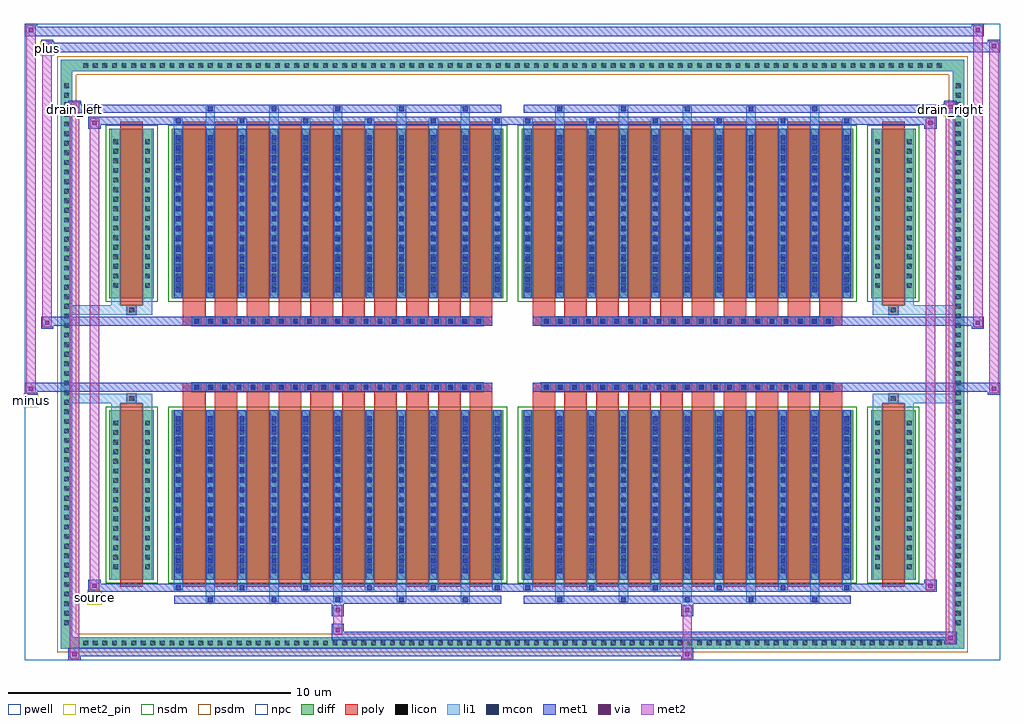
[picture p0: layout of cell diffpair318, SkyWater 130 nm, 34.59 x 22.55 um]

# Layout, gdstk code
import gdstk
lib = gdstk.Library(unit=1e-6, precision=5e-09)
def R(c, l, rs):  # rectangles x0, y0, x1, y1
    for r in rs: c.add(gdstk.rectangle(r[:2], r[2:], *l))
def A(c, l, x, y, w, h, nx, ny, dx, dy):  # array of equal rectangles
    R(c, l, [(x+i*dx, y+j*dy, x+i*dx+w, y+j*dy+h) for i in range(nx) for j in range(ny)])
def P(c, l, *ps):  # polygons
    for p in ps: c.add(gdstk.Polygon(p, *l))
pwell = (64, 44)
diff = (65, 20)
poly = (66, 20)
licon = (66, 44)
li1 = (67, 20)
mcon = (67, 44)
met1 = (68, 20)
via = (68, 44)
met2_pin = (69, 16)
met2 = (69, 20)
nsdm = (93, 44)
psdm = (94, 20)
npc = (95, 20)

diffpair318 = lib.new_cell('diffpair318')
R(diffpair318, pwell, [(-17.28,-10.84,17.28,11.71), (-14.6,-9.03,-0.01,-0.805), (0.01,-9.03,14.6,-0.805), (-14.6,0.805,-0.01,9.03), (0.01,0.805,14.6,9.03)])
A(diffpair318, diff, -15.335, -10.44, 0.41, 0.41, 90, 2, 0.34, 20.47)
A(diffpair318, diff, -16.01, -9.725, 0.41, 0.41, 1, 57, 0, 0.34)
A(diffpair318, diff, 15.6, -9.725, 0.41, 0.41, 1, 57, 0, 0.34)
R(diffpair318, diff, [(-15.335,-10.44,15.335,-10.03), (-16.01,-9.725,-15.6,9.725), (15.6,-9.725,16.01,9.725), (-14.29,-7.985,-12.71,-1.985), (-12.07,-7.985,-0.32,-1.985), (0.32,-7.985,12.07,-1.985), (12.71,-7.985,14.29,-1.985), (-14.29,1.985,-12.71,7.985), (-12.07,1.985,-0.32,7.985), (0.32,1.985,12.07,7.985), (12.71,1.985,14.29,7.985), (-15.335,10.03,15.335,10.44)])
P(diffpair318, diff, [(16.01,10.44),(-16.01,10.44),(-16.01,-10.03),(-15.6,-10.03),(-15.6,10.03),(15.6,10.03),(15.6,-10.03),(-15.6,-10.03),(-16.01,-10.03),(-16.01,-10.44),(16.01,-10.44)])
A(diffpair318, poly, -11.68, -8.235, 0.8, 6.5, 10, 2, 1.13, 9.97)
A(diffpair318, poly, 0.71, -8.235, 0.8, 6.5, 10, 2, 1.13, 9.97)
A(diffpair318, poly, -11.68, -1.735, 0.8, 0.4, 10, 2, 1.13, 3.07)
A(diffpair318, poly, 0.71, -1.735, 0.8, 0.4, 10, 2, 1.13, 3.07)
A(diffpair318, poly, -11.36, -1.335, 0.33, 0.33, 21, 2, 0.5, 2.34)
A(diffpair318, poly, 1.03, -1.335, 0.33, 0.33, 21, 2, 0.5, 2.34)
R(diffpair318, poly, [(-13.9,-8.235,-13.1,-1.735), (13.1,-8.235,13.9,-1.735), (-13.665,-1.735,-13.335,-1.405), (-13.665,-1.735,-13.335,-1.405), (13.335,-1.735,13.665,-1.405), (13.335,-1.735,13.665,-1.405), (-11.68,-1.335,-0.71,-1.005), (0.71,-1.335,11.68,-1.005), (-11.68,1.005,-0.71,1.335), (0.71,1.005,11.68,1.335), (-13.665,1.405,-13.335,1.735), (-13.665,1.405,-13.335,1.735), (13.335,1.405,13.665,1.735), (13.335,1.405,13.665,1.735), (-13.9,1.735,-13.1,8.235), (13.1,1.735,13.9,8.235)])
A(diffpair318, licon, -15.215, -10.32, 0.17, 0.17, 90, 2, 0.34, 20.47)
A(diffpair318, licon, -15.89, -9.605, 0.17, 0.17, 1, 57, 0, 0.34)
A(diffpair318, licon, 15.72, -9.605, 0.17, 0.17, 1, 57, 0, 0.34)
A(diffpair318, licon, -14.15, -7.62, 0.17, 0.17, 1, 16, 0, 0.34)
A(diffpair318, licon, -13.02, -7.62, 0.17, 0.17, 1, 16, 0, 0.34)
A(diffpair318, licon, -11.93, -7.62, 0.17, 0.17, 11, 16, 1.13, 0.34)
A(diffpair318, licon, 0.46, -7.62, 0.17, 0.17, 11, 16, 1.13, 0.34)
A(diffpair318, licon, 12.85, -7.62, 0.17, 0.17, 1, 16, 0, 0.34)
A(diffpair318, licon, 13.98, -7.62, 0.17, 0.17, 1, 16, 0, 0.34)
A(diffpair318, licon, -11.28, -1.255, 0.17, 0.17, 21, 2, 0.5, 2.34)
A(diffpair318, licon, 1.11, -1.255, 0.17, 0.17, 21, 2, 0.5, 2.34)
A(diffpair318, licon, -14.15, 2.35, 0.17, 0.17, 1, 16, 0, 0.34)
A(diffpair318, licon, -13.02, 2.35, 0.17, 0.17, 1, 16, 0, 0.34)
A(diffpair318, licon, -11.93, 2.35, 0.17, 0.17, 11, 16, 1.13, 0.34)
A(diffpair318, licon, 0.46, 2.35, 0.17, 0.17, 11, 16, 1.13, 0.34)
A(diffpair318, licon, 12.85, 2.35, 0.17, 0.17, 1, 16, 0, 0.34)
A(diffpair318, licon, 13.98, 2.35, 0.17, 0.17, 1, 16, 0, 0.34)
R(diffpair318, licon, [(-13.585,-1.655,-13.415,-1.485), (13.415,-1.655,13.585,-1.485), (-13.585,1.485,-13.415,1.655), (13.415,1.485,13.585,1.655)])
A(diffpair318, li1, -15.295, -10.4, 0.33, 0.33, 90, 2, 0.34, 20.47)
A(diffpair318, li1, -15.97, -9.685, 0.33, 0.33, 1, 57, 0, 0.34)
A(diffpair318, li1, 15.64, -9.685, 0.33, 0.33, 1, 57, 0, 0.34)
A(diffpair318, li1, -10.88, -8.79, 0.33, 0.805, 5, 2, 2.26, 16.775)
A(diffpair318, li1, -10.8, -8.79, 0.17, 0.17, 5, 2, 2.26, 17.41)
A(diffpair318, li1, 1.51, -8.79, 0.33, 0.805, 5, 2, 2.26, 16.775)
A(diffpair318, li1, 1.59, -8.79, 0.17, 0.17, 5, 2, 2.26, 17.41)
A(diffpair318, li1, -12.01, -8.36, 0.33, 0.375, 6, 2, 2.26, 16.345)
A(diffpair318, li1, -11.93, -8.36, 0.17, 0.17, 6, 2, 2.26, 16.55)
A(diffpair318, li1, 0.38, -8.36, 0.33, 0.375, 6, 2, 2.26, 16.345)
A(diffpair318, li1, 0.46, -8.36, 0.17, 0.17, 6, 2, 2.26, 16.55)
A(diffpair318, li1, -12.01, -7.985, 0.33, 6, 11, 2, 1.13, 9.97)
A(diffpair318, li1, 0.38, -7.985, 0.33, 6, 11, 2, 1.13, 9.97)
A(diffpair318, li1, -11.93, -7.77, 0.17, 0.17, 11, 16, 1.13, 0.36)
A(diffpair318, li1, -11.93, -7.77, 0.17, 5.57, 11, 2, 1.13, 9.97)
A(diffpair318, li1, 0.46, -7.77, 0.17, 0.17, 11, 16, 1.13, 0.36)
A(diffpair318, li1, 0.46, -7.77, 0.17, 5.57, 11, 2, 1.13, 9.97)
A(diffpair318, li1, -14.23, -7.7, 0.33, 0.33, 1, 16, 0, 0.34)
A(diffpair318, li1, -13.1, -7.7, 0.33, 0.33, 1, 16, 0, 0.34)
A(diffpair318, li1, -12.01, -7.7, 0.33, 0.33, 11, 16, 1.13, 0.34)
A(diffpair318, li1, 0.38, -7.7, 0.33, 0.33, 11, 16, 1.13, 0.34)
A(diffpair318, li1, 12.77, -7.7, 0.33, 0.33, 1, 16, 0, 0.34)
A(diffpair318, li1, 13.9, -7.7, 0.33, 0.33, 1, 16, 0, 0.34)
A(diffpair318, li1, -11.36, -1.335, 0.33, 0.33, 21, 2, 0.5, 2.34)
A(diffpair318, li1, 1.03, -1.335, 0.33, 0.33, 21, 2, 0.5, 2.34)
A(diffpair318, li1, -11.93, 2.2, 0.17, 0.17, 11, 16, 1.13, 0.36)
A(diffpair318, li1, 0.46, 2.2, 0.17, 0.17, 11, 16, 1.13, 0.36)
A(diffpair318, li1, -14.23, 2.27, 0.33, 0.33, 1, 16, 0, 0.34)
A(diffpair318, li1, -13.1, 2.27, 0.33, 0.33, 1, 16, 0, 0.34)
A(diffpair318, li1, -12.01, 2.27, 0.33, 0.33, 11, 16, 1.13, 0.34)
A(diffpair318, li1, 0.38, 2.27, 0.33, 0.33, 11, 16, 1.13, 0.34)
A(diffpair318, li1, 12.77, 2.27, 0.33, 0.33, 1, 16, 0, 0.34)
A(diffpair318, li1, 13.9, 2.27, 0.33, 0.33, 1, 16, 0, 0.34)
R(diffpair318, li1, [(-16.01,-10.44,-15.6,-10.03), (-16.01,-10.44,-15.6,-10.03), (-15.6,-10.44,15.6,-10.03), (15.6,-10.44,16.01,-10.03), (15.6,-10.44,16.01,-10.03), (-16.01,-10.03,-15.6,10.03), (15.6,-10.03,16.01,10.03), (-14.23,-7.985,-13.9,-1.985), (-13.1,-7.985,-12.77,-1.985), (12.77,-7.985,13.1,-1.985), (13.9,-7.985,14.23,-1.985), (-14.23,-1.985,-13.9,-1.405), (-13.1,-1.985,-12.77,-1.405), (12.77,-1.985,13.1,-1.405), (13.9,-1.985,14.23,-1.405), (-16.01,-1.735,-13.665,-1.405), (-14.23,-1.735,-13.665,-1.405), (-13.665,-1.735,-13.335,-1.405), (-13.335,-1.735,-12.77,-1.405), (12.77,-1.735,13.335,-1.405), (13.335,-1.735,13.665,-1.405), (13.335,-1.735,16.01,-1.405), (13.665,-1.735,14.23,-1.405), (-16.01,1.405,-13.665,1.735), (-14.23,1.405,-13.665,1.735), (-14.23,1.405,-13.9,1.985), (-13.665,1.405,-13.335,1.735), (-13.335,1.405,-12.77,1.735), (-13.1,1.405,-12.77,1.985), (12.77,1.405,13.335,1.735), (12.77,1.405,13.1,1.985), (13.335,1.405,13.665,1.735), (13.335,1.405,16.01,1.735), (13.665,1.405,14.23,1.735), (13.9,1.405,14.23,1.985), (-14.23,1.985,-13.9,7.985), (-13.1,1.985,-12.77,7.985), (12.77,1.985,13.1,7.985), (13.9,1.985,14.23,7.985), (-16.01,10.03,-15.6,10.44), (-16.01,10.03,-15.6,10.44), (-15.6,10.03,15.6,10.44), (15.6,10.03,16.01,10.44), (15.6,10.03,16.01,10.44)])
A(diffpair318, mcon, -10.8, -8.79, 0.17, 0.17, 5, 2, 2.26, 17.41)
A(diffpair318, mcon, 1.59, -8.79, 0.17, 0.17, 5, 2, 2.26, 17.41)
A(diffpair318, mcon, -11.93, -8.36, 0.17, 0.17, 6, 2, 2.26, 16.55)
A(diffpair318, mcon, 0.46, -8.36, 0.17, 0.17, 6, 2, 2.26, 16.55)
A(diffpair318, mcon, -11.93, -7.77, 0.17, 0.17, 11, 16, 1.13, 0.36)
A(diffpair318, mcon, 0.46, -7.77, 0.17, 0.17, 11, 16, 1.13, 0.36)
A(diffpair318, mcon, -11.28, -1.255, 0.17, 0.17, 21, 2, 0.5, 2.34)
A(diffpair318, mcon, 1.11, -1.255, 0.17, 0.17, 21, 2, 0.5, 2.34)
A(diffpair318, mcon, -11.93, 2.2, 0.17, 0.17, 11, 16, 1.13, 0.36)
A(diffpair318, mcon, 0.46, 2.2, 0.17, 0.17, 11, 16, 1.13, 0.36)
A(diffpair318, met1, -10.86, -8.85, 0.29, 0.29, 5, 2, 2.26, 17.41)
A(diffpair318, met1, 1.53, -8.85, 0.29, 0.29, 5, 2, 2.26, 17.41)
A(diffpair318, met1, -11.99, -8.42, 0.29, 0.29, 6, 2, 2.26, 16.55)
A(diffpair318, met1, 0.4, -8.42, 0.29, 0.29, 6, 2, 2.26, 16.55)
A(diffpair318, met1, -11.99, -7.985, 0.29, 6, 11, 2, 1.13, 9.97)
A(diffpair318, met1, 0.4, -7.985, 0.29, 6, 11, 2, 1.13, 9.97)
A(diffpair318, met1, -11.99, -7.83, 0.29, 0.29, 11, 16, 1.13, 0.36)
A(diffpair318, met1, 0.4, -7.83, 0.29, 0.29, 11, 16, 1.13, 0.36)
A(diffpair318, met1, -11.34, -1.315, 0.29, 0.29, 21, 2, 0.5, 2.34)
A(diffpair318, met1, 1.05, -1.315, 0.29, 0.29, 21, 2, 0.5, 2.34)
A(diffpair318, met1, -11.99, 2.14, 0.29, 0.29, 11, 16, 1.13, 0.36)
A(diffpair318, met1, 0.4, 2.14, 0.29, 0.29, 11, 16, 1.13, 0.36)
R(diffpair318, met1, [(-15.74,-10.84,-15.31,-10.41), (5.98,-10.84,6.41,-10.41), (-15.74,-10.7,6.41,-10.41), (15.31,-10.27,15.74,-9.84), (-6.41,-10.13,15.74,-9.84), (-6.41,-9.99,-5.98,-9.56), (-6.41,-9.28,-5.98,-8.85), (5.98,-9.28,6.41,-8.85), (-11.99,-8.85,-0.4,-8.56), (0.4,-8.85,11.99,-8.56), (-15.03,-8.42,-14.6,-7.99), (-15.03,-8.42,-11.99,-8.13), (-11.99,-8.42,-0.4,-8.13), (-0.4,-8.42,0.4,-8.13), (0.4,-8.42,11.99,-8.13), (11.99,-8.42,15.03,-8.13), (14.6,-8.42,15.03,-7.99), (-17.28,-1.435,-16.85,-1.005), (16.85,-1.435,17.28,-1.005), (-17.28,-1.335,-0.71,-1.005), (-11.68,-1.335,-0.71,-1.005), (0.71,-1.335,11.68,-1.005), (0.71,-1.335,17.28,-1.005), (-16.71,0.905,-16.28,1.335), (16.28,0.905,16.71,1.335), (-16.71,1.005,-11.68,1.335), (-11.68,1.005,-0.71,1.335), (0.71,1.005,11.68,1.335), (11.68,1.005,16.71,1.335), (-15.03,7.99,-14.6,8.42), (14.6,7.99,15.03,8.42), (-15.03,8.13,-11.99,8.42), (-11.99,8.13,-0.4,8.42), (-0.4,8.13,0.4,8.42), (0.4,8.13,11.99,8.42), (11.99,8.13,15.03,8.42), (-15.74,8.56,-15.31,8.99), (-15.74,8.56,-11.99,8.85), (-11.99,8.56,-0.4,8.85), (0.4,8.56,11.99,8.85), (11.99,8.56,15.74,8.85), (15.31,8.56,15.74,8.99), (-16.71,10.71,-16.28,11.14), (-16.71,10.71,-14.6,11.04), (-14.6,10.71,14.6,11.04), (14.6,10.71,17.28,11.04), (16.85,10.71,17.28,11.14), (-17.28,11.28,-16.85,11.71), (-17.28,11.28,-14.6,11.61), (-14.6,11.28,14.6,11.61), (14.6,11.28,16.71,11.61), (16.28,11.28,16.71,11.71)])
R(diffpair318, via, [(-15.6,-10.7,-15.45,-10.55), (6.12,-10.7,6.27,-10.55), (15.45,-10.13,15.6,-9.98), (-6.27,-9.85,-6.12,-9.7), (-6.27,-9.14,-6.12,-8.99), (6.12,-9.14,6.27,-8.99), (-14.89,-8.28,-14.74,-8.13), (14.74,-8.28,14.89,-8.13), (-17.14,-1.295,-16.99,-1.145), (16.99,-1.295,17.14,-1.145), (-16.57,1.045,-16.42,1.195), (16.42,1.045,16.57,1.195), (-14.89,8.13,-14.74,8.28), (14.74,8.13,14.89,8.28), (-15.6,8.7,-15.45,8.85), (15.45,8.7,15.6,8.85), (-16.57,10.85,-16.42,11), (16.99,10.85,17.14,11), (-17.14,11.42,-16.99,11.57), (16.42,11.42,16.57,11.57)])
R(diffpair318, met2_pin, [(-15.065,-8.87,-14.565,-8.37), (-17.315,-1.885,-16.815,-1.385), (-15.775,8.44,-15.275,8.94), (15.275,8.44,15.775,8.94), (-16.745,10.59,-16.245,11.09)])
R(diffpair318, met2, [(-15.69,-10.79,-15.36,-10.46), (-15.69,-10.79,-15.36,8.94), (6.03,-10.79,6.36,-10.46), (6.03,-10.46,6.36,-9.23), (15.36,-10.22,15.69,-9.89), (15.36,-10.22,15.69,8.94), (-6.36,-9.94,-6.03,-9.61), (-6.36,-9.61,-6.03,-9.23), (-6.36,-9.23,-6.03,-8.9), (6.03,-9.23,6.36,-8.9), (-14.98,-8.37,-14.65,-8.04), (-14.98,-8.37,-14.65,8.37), (14.65,-8.37,14.98,-8.04), (14.65,-8.37,14.98,8.37), (-17.23,-1.385,-16.9,-1.055), (-17.23,-1.385,-16.9,11.66), (16.9,-1.385,17.23,-1.055), (16.9,-1.385,17.23,11.09), (-16.66,0.955,-16.33,1.285), (-16.66,0.955,-16.33,11.09), (16.33,0.955,16.66,1.285), (16.33,0.955,16.66,11.66), (-14.98,8.04,-14.65,8.37), (14.65,8.04,14.98,8.37), (-15.69,8.61,-15.36,8.94), (15.36,8.61,15.69,8.94), (-16.66,10.76,-16.33,11.09), (16.9,10.76,17.23,11.09), (-17.23,11.33,-16.9,11.66), (16.33,11.33,16.66,11.66)])
P(diffpair318, met2, [(17.23,-1.385),(17.23,-1.385),(17.23,-1.055),(17.23,-1.055)],
  [(17.23,10.76),(17.23,10.76),(17.23,11.09),(17.23,11.09)],
  [(-16.9,-1.385),(-16.9,-1.385),(-16.9,-1.055),(-16.9,-1.055)],
  [(-16.9,11.33),(-16.9,11.33),(-16.9,11.66),(-16.9,11.66)],
  [(16.66,0.955),(16.66,0.955),(16.66,1.285),(16.66,1.285)],
  [(16.66,11.33),(16.66,11.33),(16.66,11.66),(16.66,11.66)],
  [(-16.33,0.955),(-16.33,0.955),(-16.33,1.285),(-16.33,1.285)],
  [(-16.33,10.76),(-16.33,10.76),(-16.33,11.09),(-16.33,11.09)],
  [(-15.36,-10.79),(-15.36,-10.79),(-15.36,-10.46),(-15.36,-10.46)],
  [(-15.36,8.61),(-15.36,8.61),(-15.36,8.94),(-15.36,8.94)],
  [(15.69,-10.22),(15.69,-10.22),(15.69,-9.89),(15.69,-9.89)],
  [(15.69,8.61),(15.69,8.61),(15.69,8.94),(15.69,8.94)],
  [(-14.65,-8.37),(-14.65,-8.37),(-14.65,-8.04),(-14.65,-8.04)],
  [(-14.65,8.04),(-14.65,8.04),(-14.65,8.37),(-14.65,8.37)],
  [(14.98,-8.37),(14.98,-8.37),(14.98,-8.04),(14.98,-8.04)],
  [(14.98,8.04),(14.98,8.04),(14.98,8.37),(14.98,8.37)])
R(diffpair318, nsdm, [(-14.42,-8.115,-12.58,-1.855), (-12.2,-8.115,-0.19,-1.855), (0.19,-8.115,12.2,-1.855), (12.58,-8.115,14.42,-1.855), (-14.42,1.855,-12.58,8.115), (-12.2,1.855,-0.19,8.115), (0.19,1.855,12.2,8.115), (12.58,1.855,14.42,8.115)])
P(diffpair318, psdm, [(16.14,10.57),(-16.14,10.57),(-16.14,-9.9),(-15.47,-9.9),(-15.47,9.9),(15.47,9.9),(15.47,-9.9),(-15.47,-9.9),(-16.14,-9.9),(-16.14,-10.57),(16.14,-10.57)])
A(diffpair318, npc, -11.38, -1.355, 0.37, 0.37, 21, 2, 0.5, 2.34)
A(diffpair318, npc, 1.01, -1.355, 0.37, 0.37, 21, 2, 0.5, 2.34)
R(diffpair318, npc, [(-13.685,-1.755,-13.315,-1.385), (13.315,-1.755,13.685,-1.385), (-11.38,-1.355,-10.51,-0.985), (-11.38,-1.355,-10.51,-0.985), (-10.88,-1.355,-10.01,-0.985), (-10.88,-1.355,-10.01,-0.985), (-10.38,-1.355,-9.51,-0.985), (-10.38,-1.355,-9.51,-0.985), (-9.88,-1.355,-9.01,-0.985), (-9.88,-1.355,-9.01,-0.985), (-9.38,-1.355,-8.51,-0.985), (-9.38,-1.355,-8.51,-0.985), (-8.88,-1.355,-8.01,-0.985), (-8.88,-1.355,-8.01,-0.985), (-8.38,-1.355,-7.51,-0.985), (-8.38,-1.355,-7.51,-0.985), (-7.88,-1.355,-7.01,-0.985), (-7.88,-1.355,-7.01,-0.985), (-7.38,-1.355,-6.51,-0.985), (-7.38,-1.355,-6.51,-0.985), (-6.88,-1.355,-6.01,-0.985), (-6.88,-1.355,-6.01,-0.985), (-6.38,-1.355,-5.51,-0.985), (-6.38,-1.355,-5.51,-0.985), (-5.88,-1.355,-5.01,-0.985), (-5.88,-1.355,-5.01,-0.985), (-5.38,-1.355,-4.51,-0.985), (-5.38,-1.355,-4.51,-0.985), (-4.88,-1.355,-4.01,-0.985), (-4.88,-1.355,-4.01,-0.985), (-4.38,-1.355,-3.51,-0.985), (-4.38,-1.355,-3.51,-0.985), (-3.88,-1.355,-3.01,-0.985), (-3.88,-1.355,-3.01,-0.985), (-3.38,-1.355,-2.51,-0.985), (-3.38,-1.355,-2.51,-0.985), (-2.88,-1.355,-2.01,-0.985), (-2.88,-1.355,-2.01,-0.985), (-2.38,-1.355,-1.51,-0.985), (-2.38,-1.355,-1.51,-0.985), (-1.88,-1.355,-1.01,-0.985), (-1.88,-1.355,-1.01,-0.985), (1.01,-1.355,1.88,-0.985), (1.01,-1.355,1.88,-0.985), (1.51,-1.355,2.38,-0.985), (1.51,-1.355,2.38,-0.985), (2.01,-1.355,2.88,-0.985), (2.01,-1.355,2.88,-0.985), (2.51,-1.355,3.38,-0.985), (2.51,-1.355,3.38,-0.985), (3.01,-1.355,3.88,-0.985), (3.01,-1.355,3.88,-0.985), (3.51,-1.355,4.38,-0.985), (3.51,-1.355,4.38,-0.985), (4.01,-1.355,4.88,-0.985), (4.01,-1.355,4.88,-0.985), (4.51,-1.355,5.38,-0.985), (4.51,-1.355,5.38,-0.985), (5.01,-1.355,5.88,-0.985), (5.01,-1.355,5.88,-0.985), (5.51,-1.355,6.38,-0.985), (5.51,-1.355,6.38,-0.985), (6.01,-1.355,6.88,-0.985), (6.01,-1.355,6.88,-0.985), (6.51,-1.355,7.38,-0.985), (6.51,-1.355,7.38,-0.985), (7.01,-1.355,7.88,-0.985), (7.01,-1.355,7.88,-0.985), (7.51,-1.355,8.38,-0.985), (7.51,-1.355,8.38,-0.985), (8.01,-1.355,8.88,-0.985), (8.01,-1.355,8.88,-0.985), (8.51,-1.355,9.38,-0.985), (8.51,-1.355,9.38,-0.985), (9.01,-1.355,9.88,-0.985), (9.01,-1.355,9.88,-0.985), (9.51,-1.355,10.38,-0.985), (9.51,-1.355,10.38,-0.985), (10.01,-1.355,10.88,-0.985), (10.01,-1.355,10.88,-0.985), (10.51,-1.355,11.38,-0.985), (10.51,-1.355,11.38,-0.985), (-11.38,0.985,-10.51,1.355), (-11.38,0.985,-10.51,1.355), (-10.88,0.985,-10.01,1.355), (-10.88,0.985,-10.01,1.355), (-10.38,0.985,-9.51,1.355), (-10.38,0.985,-9.51,1.355), (-9.88,0.985,-9.01,1.355), (-9.88,0.985,-9.01,1.355), (-9.38,0.985,-8.51,1.355), (-9.38,0.985,-8.51,1.355), (-8.88,0.985,-8.01,1.355), (-8.88,0.985,-8.01,1.355), (-8.38,0.985,-7.51,1.355), (-8.38,0.985,-7.51,1.355), (-7.88,0.985,-7.01,1.355), (-7.88,0.985,-7.01,1.355), (-7.38,0.985,-6.51,1.355), (-7.38,0.985,-6.51,1.355), (-6.88,0.985,-6.01,1.355), (-6.88,0.985,-6.01,1.355), (-6.38,0.985,-5.51,1.355), (-6.38,0.985,-5.51,1.355), (-5.88,0.985,-5.01,1.355), (-5.88,0.985,-5.01,1.355), (-5.38,0.985,-4.51,1.355), (-5.38,0.985,-4.51,1.355), (-4.88,0.985,-4.01,1.355), (-4.88,0.985,-4.01,1.355), (-4.38,0.985,-3.51,1.355), (-4.38,0.985,-3.51,1.355), (-3.88,0.985,-3.01,1.355), (-3.88,0.985,-3.01,1.355), (-3.38,0.985,-2.51,1.355), (-3.38,0.985,-2.51,1.355), (-2.88,0.985,-2.01,1.355), (-2.88,0.985,-2.01,1.355), (-2.38,0.985,-1.51,1.355), (-2.38,0.985,-1.51,1.355), (-1.88,0.985,-1.01,1.355), (-1.88,0.985,-1.01,1.355), (1.01,0.985,1.88,1.355), (1.01,0.985,1.88,1.355), (1.51,0.985,2.38,1.355), (1.51,0.985,2.38,1.355), (2.01,0.985,2.88,1.355), (2.01,0.985,2.88,1.355), (2.51,0.985,3.38,1.355), (2.51,0.985,3.38,1.355), (3.01,0.985,3.88,1.355), (3.01,0.985,3.88,1.355), (3.51,0.985,4.38,1.355), (3.51,0.985,4.38,1.355), (4.01,0.985,4.88,1.355), (4.01,0.985,4.88,1.355), (4.51,0.985,5.38,1.355), (4.51,0.985,5.38,1.355), (5.01,0.985,5.88,1.355), (5.01,0.985,5.88,1.355), (5.51,0.985,6.38,1.355), (5.51,0.985,6.38,1.355), (6.01,0.985,6.88,1.355), (6.01,0.985,6.88,1.355), (6.51,0.985,7.38,1.355), (6.51,0.985,7.38,1.355), (7.01,0.985,7.88,1.355), (7.01,0.985,7.88,1.355), (7.51,0.985,8.38,1.355), (7.51,0.985,8.38,1.355), (8.01,0.985,8.88,1.355), (8.01,0.985,8.88,1.355), (8.51,0.985,9.38,1.355), (8.51,0.985,9.38,1.355), (9.01,0.985,9.88,1.355), (9.01,0.985,9.88,1.355), (9.51,0.985,10.38,1.355), (9.51,0.985,10.38,1.355), (10.01,0.985,10.88,1.355), (10.01,0.985,10.88,1.355), (10.51,0.985,11.38,1.355), (10.51,0.985,11.38,1.355), (-13.685,1.385,-13.315,1.755), (13.315,1.385,13.685,1.755)])
diffpair318.add(gdstk.Label('minus', (-17.065,-1.635), layer=69, texttype=5))
diffpair318.add(gdstk.Label('drain_right', (15.525,8.69), layer=69, texttype=5))
diffpair318.add(gdstk.Label('drain_left', (-15.525,8.69), layer=69, texttype=5))
diffpair318.add(gdstk.Label('source', (-14.815,-8.62), layer=69, texttype=5))
diffpair318.add(gdstk.Label('plus', (-16.495,10.84), layer=69, texttype=5))

lib.write_gds('diffpair318.gds')
